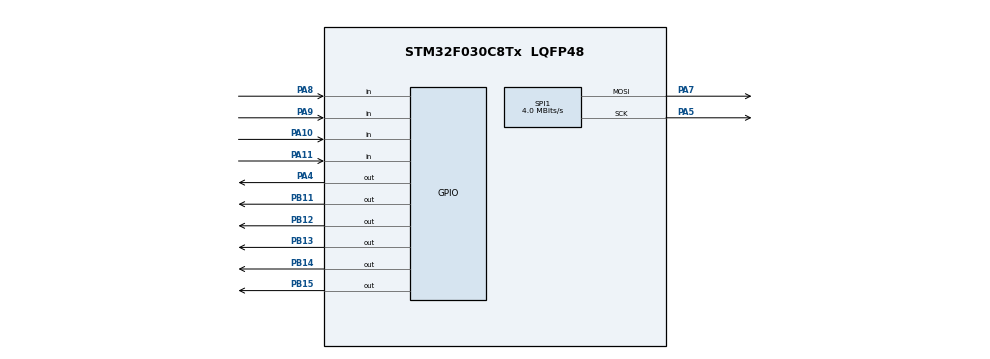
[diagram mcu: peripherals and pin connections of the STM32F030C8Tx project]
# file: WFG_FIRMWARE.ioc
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Mcu.Family=STM32F0
Mcu.Name=STM32F030C8Tx
Mcu.Package=LQFP48
PA10.GPIO_PuPd=GPIO_PULLUP
PA10.Signal=GPIO_Input
PA11.GPIO_PuPd=GPIO_PULLUP
PA11.Signal=GPIO_Input
PA4.Signal=GPIO_Output
PA5.Mode=TX_Only_Simplex_Unidirect_Master
PA5.Signal=SPI1_SCK
PA7.Mode=TX_Only_Simplex_Unidirect_Master
PA7.Signal=SPI1_MOSI
PA8.GPIO_PuPd=GPIO_PULLUP
PA8.Signal=GPIO_Input
PA9.GPIO_PuPd=GPIO_PULLUP
PA9.Signal=GPIO_Input
PB11.Signal=GPIO_Output
PB12.Signal=GPIO_Output
PB13.Signal=GPIO_Output
PB14.Signal=GPIO_Output
PB15.Signal=GPIO_Output
ProjectManager.HeapSize=0x200
ProjectManager.StackSize=0x400
ProjectManager.TargetToolchain=STM32CubeIDE
SPI1.CalculateBaudRate=4.0 MBits/s
SPI1.Direction=SPI_DIRECTION_2LINES
SPI1.Mode=SPI_MODE_MASTER
SPI1.VirtualType=VM_MASTER
board=custom

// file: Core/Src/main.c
/* USER CODE BEGIN Header */
/**
  ******************************************************************************
  * @file           : main.c
  * @brief          : Main program body
  ******************************************************************************
  * @attention
  *
  * Copyright (c) 2026 STMicroelectronics.
  * All rights reserved.
  *
  * This software is licensed under terms that can be found in the LICENSE file
  * in the root directory of this software component.
  * If no LICENSE file comes with this software, it is provided AS-IS.
  *
  ******************************************************************************
  */
/* USER CODE END Header */
#include "main.h"

/* USER CODE BEGIN Includes */
#include "frames.h"
#include "newhaven_nhd.h"
/* USER CODE END Includes */

/* USER CODE BEGIN PTD */
SPI_HandleTypeDef hspi1;
/* USER CODE END PTD */

/* USER CODE BEGIN PD */
// SC
#define SC_Pin        GPIO_PIN_13
#define SC_GPIO_Port  GPIOB

// SI
#define SI_Pin        GPIO_PIN_15
#define SI_GPIO_Port  GPIOB

// RES
#define RES_Pin       GPIO_PIN_11
#define RES_GPIO_Port GPIOB

// CS1B
#define CS_Pin        GPIO_PIN_12
#define CS_GPIO_Port  GPIOB

// A0 (RS / D-C)
#define RS_Pin        GPIO_PIN_14
#define RS_GPIO_Port  GPIOB

// SW1: SINE
#define SW1_Pin       GPIO_PIN_8
#define SW1_GPIO_Port GPIOA

// SW2: SQUARE
#define SW2_Pin       GPIO_PIN_9
#define SW2_GPIO_Port GPIOA

// SW3: TRIANGLE
#define SW3_Pin       GPIO_PIN_10
#define SW3_GPIO_Port GPIOA

// SW4: SAWTOOTH
#define SW4_Pin       GPIO_PIN_11
#define SW4_GPIO_Port GPIOA

#define FSYNC_Pin       GPIO_PIN_4
#define FSYNC_GPIO_Port GPIOA

/* USER CODE END PD */

SPI_HandleTypeDef hspi1;

/* USER CODE BEGIN PV */
uint8_t wave_type = 0;
/* USER CODE END PV */

void SystemClock_Config(void);
static void MX_GPIO_Init(void);
static void MX_SPI1_Init(void);

int main(void)
{

  /* USER CODE BEGIN 1 */
  hspi1.Instance = SPI1;                       // SPI peripheral
  hspi1.Init.Mode = SPI_MODE_MASTER;           // MASTER or SLAVE
  hspi1.Init.Direction = SPI_DIRECTION_1LINE;  // Full-duplex
  hspi1.Init.DataSize = SPI_DATASIZE_16BIT;     // 8-bit data
  hspi1.Init.CLKPolarity = SPI_POLARITY_LOW;   // Clock idle state
  hspi1.Init.CLKPhase = SPI_PHASE_1EDGE;       // Clock capture edge
  hspi1.Init.NSS = SPI_NSS_SOFT;               // Software-controlled CS
  hspi1.Init.BaudRatePrescaler = SPI_BAUDRATEPRESCALER_8; // 8 MHz
  hspi1.Init.FirstBit = SPI_FIRSTBIT_MSB;
  hspi1.Init.TIMode = SPI_TIMODE_DISABLE;
  hspi1.Init.CRCCalculation = SPI_CRCCALCULATION_DISABLE;

  // Initialize SPI
  HAL_SPI_Init(&hspi1);
  /* USER CODE END 1 */

  /* MCU Configuration--------------------------------------------------------*/

  /* Reset of all peripherals, Initializes the Flash interface and the Systick. */
  HAL_Init();

  /* Configure the system clock */
  SystemClock_Config();

  /* Initialize all configured peripherals */
  MX_GPIO_Init();
  MX_SPI1_Init();
  /* USER CODE BEGIN 2 */
  init_LCD();
  ClearLCD();
  ProgramWave();
  /* USER CODE END 2 */

  /* Infinite loop */
  /* USER CODE BEGIN WHILE */
  while (1)
  {
	// PicLoop();

    /* USER CODE END WHILE */

  }
}

void SystemClock_Config(void)
{
  RCC_OscInitTypeDef RCC_OscInitStruct = {0};
  RCC_ClkInitTypeDef RCC_ClkInitStruct = {0};

  /** Initializes the RCC Oscillators according to the specified parameters
  * in the RCC_OscInitTypeDef structure.
  */
  RCC_OscInitStruct.OscillatorType = RCC_OSCILLATORTYPE_HSI;
  RCC_OscInitStruct.HSIState = RCC_HSI_ON;
  RCC_OscInitStruct.HSICalibrationValue = RCC_HSICALIBRATION_DEFAULT;
  RCC_OscInitStruct.PLL.PLLState = RCC_PLL_NONE;
  if (HAL_RCC_OscConfig(&RCC_OscInitStruct) != HAL_OK)
  {
    Error_Handler();
  }

  /** Initializes the CPU, AHB and APB buses clocks
  */
  RCC_ClkInitStruct.ClockType = RCC_CLOCKTYPE_HCLK|RCC_CLOCKTYPE_SYSCLK
                              |RCC_CLOCKTYPE_PCLK1;
  RCC_ClkInitStruct.SYSCLKSource = RCC_SYSCLKSOURCE_HSI;
  RCC_ClkInitStruct.AHBCLKDivider = RCC_SYSCLK_DIV1;
  RCC_ClkInitStruct.APB1CLKDivider = RCC_HCLK_DIV1;

  if (HAL_RCC_ClockConfig(&RCC_ClkInitStruct, FLASH_LATENCY_0) != HAL_OK)
  {
    Error_Handler();
  }
}

static void MX_SPI1_Init(void)
{

  /* SPI1 parameter configuration*/
  hspi1.Instance = SPI1;
  hspi1.Init.Mode = SPI_MODE_MASTER;
  hspi1.Init.Direction = SPI_DIRECTION_2LINES;
  hspi1.Init.DataSize = SPI_DATASIZE_4BIT;
  hspi1.Init.CLKPolarity = SPI_POLARITY_LOW;
  hspi1.Init.CLKPhase = SPI_PHASE_1EDGE;
  hspi1.Init.NSS = SPI_NSS_SOFT;
  hspi1.Init.BaudRatePrescaler = SPI_BAUDRATEPRESCALER_2;
  hspi1.Init.FirstBit = SPI_FIRSTBIT_MSB;
  hspi1.Init.TIMode = SPI_TIMODE_DISABLE;
  hspi1.Init.CRCCalculation = SPI_CRCCALCULATION_DISABLE;
  hspi1.Init.CRCPolynomial = 7;
  hspi1.Init.CRCLength = SPI_CRC_LENGTH_DATASIZE;
  hspi1.Init.NSSPMode = SPI_NSS_PULSE_ENABLE;
  if (HAL_SPI_Init(&hspi1) != HAL_OK)
  {
    Error_Handler();
  }

}

static void MX_GPIO_Init(void)
{
  GPIO_InitTypeDef GPIO_InitStruct = {0};

  /* GPIO Ports Clock Enable */
  __HAL_RCC_GPIOA_CLK_ENABLE();
  __HAL_RCC_GPIOB_CLK_ENABLE();

  /*Configure GPIO pin Output Level */
  HAL_GPIO_WritePin(GPIOA, GPIO_PIN_4, GPIO_PIN_RESET);

  /*Configure GPIO pin Output Level */
  HAL_GPIO_WritePin(GPIOB, GPIO_PIN_11|GPIO_PIN_12|GPIO_PIN_13|GPIO_PIN_14
                          |GPIO_PIN_15, GPIO_PIN_RESET);

  /*Configure GPIO pin : PA4 */
  GPIO_InitStruct.Pin = GPIO_PIN_4;
  GPIO_InitStruct.Mode = GPIO_MODE_OUTPUT_PP;
  GPIO_InitStruct.Pull = GPIO_NOPULL;
  GPIO_InitStruct.Speed = GPIO_SPEED_FREQ_LOW;
  HAL_GPIO_Init(GPIOA, &GPIO_InitStruct);

  /*Configure GPIO pins : PB11 PB12 PB13 PB14
                           PB15 */
  GPIO_InitStruct.Pin = GPIO_PIN_11|GPIO_PIN_12|GPIO_PIN_13|GPIO_PIN_14
                          |GPIO_PIN_15;
  GPIO_InitStruct.Mode = GPIO_MODE_OUTPUT_PP;
  GPIO_InitStruct.Pull = GPIO_NOPULL;
  GPIO_InitStruct.Speed = GPIO_SPEED_FREQ_LOW;
  HAL_GPIO_Init(GPIOB, &GPIO_InitStruct);

  /*Configure GPIO pins : PA8 PA9 PA10 PA11 */
  GPIO_InitStruct.Pin = GPIO_PIN_8|GPIO_PIN_9|GPIO_PIN_10|GPIO_PIN_11;
  GPIO_InitStruct.Mode = GPIO_MODE_INPUT;
  GPIO_InitStruct.Pull = GPIO_PULLUP;
  HAL_GPIO_Init(GPIOA, &GPIO_InitStruct);

}

void Error_Handler(void)
{
  __disable_irq();
  while (1)
  {
  }
}
